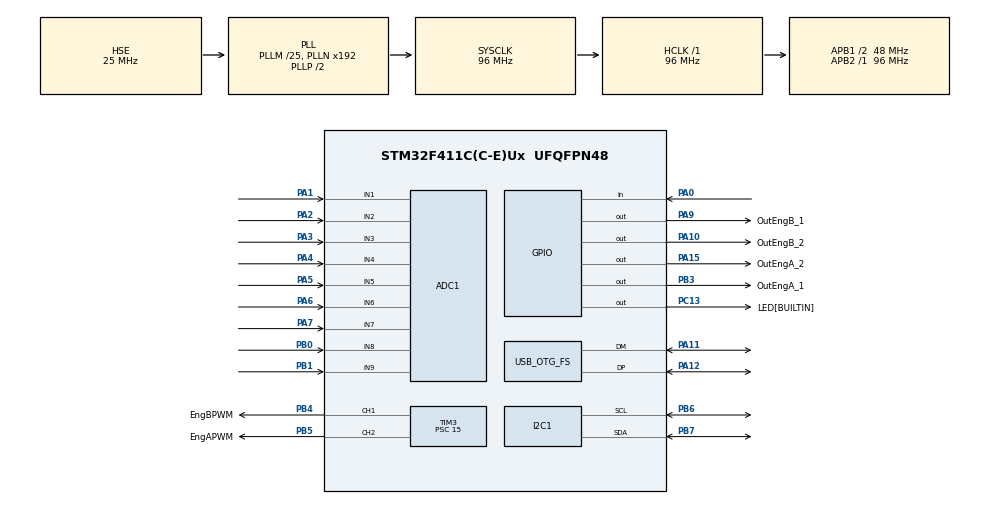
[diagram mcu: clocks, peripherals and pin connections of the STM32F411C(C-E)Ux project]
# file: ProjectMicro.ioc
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ADC1.Channel-0\#ChannelRegularConversion=ADC_CHANNEL_1
ADC1.Channel-1\#ChannelRegularConversion=ADC_CHANNEL_2
ADC1.Channel-2\#ChannelRegularConversion=ADC_CHANNEL_3
ADC1.Channel-3\#ChannelRegularConversion=ADC_CHANNEL_4
ADC1.Channel-4\#ChannelRegularConversion=ADC_CHANNEL_5
ADC1.Channel-5\#ChannelRegularConversion=ADC_CHANNEL_6
ADC1.Channel-6\#ChannelRegularConversion=ADC_CHANNEL_7
ADC1.Channel-7\#ChannelRegularConversion=ADC_CHANNEL_8
ADC1.Channel-8\#ChannelRegularConversion=ADC_CHANNEL_9
ADC1.NbrOfConversion=9
ADC1.NbrOfConversionFlag=1
ADC1.Rank-0\#ChannelRegularConversion=1
ADC1.Rank-1\#ChannelRegularConversion=2
ADC1.Rank-2\#ChannelRegularConversion=3
ADC1.Rank-3\#ChannelRegularConversion=4
ADC1.Rank-4\#ChannelRegularConversion=5
ADC1.Rank-5\#ChannelRegularConversion=6
ADC1.Rank-6\#ChannelRegularConversion=7
ADC1.Rank-7\#ChannelRegularConversion=8
ADC1.Rank-8\#ChannelRegularConversion=9
ADC1.SamplingTime-0\#ChannelRegularConversion=ADC_SAMPLETIME_56CYCLES
ADC1.SamplingTime-1\#ChannelRegularConversion=ADC_SAMPLETIME_56CYCLES
ADC1.SamplingTime-2\#ChannelRegularConversion=ADC_SAMPLETIME_56CYCLES
ADC1.SamplingTime-3\#ChannelRegularConversion=ADC_SAMPLETIME_56CYCLES
ADC1.SamplingTime-4\#ChannelRegularConversion=ADC_SAMPLETIME_56CYCLES
ADC1.SamplingTime-5\#ChannelRegularConversion=ADC_SAMPLETIME_56CYCLES
ADC1.SamplingTime-6\#ChannelRegularConversion=ADC_SAMPLETIME_56CYCLES
ADC1.SamplingTime-7\#ChannelRegularConversion=ADC_SAMPLETIME_56CYCLES
ADC1.SamplingTime-8\#ChannelRegularConversion=ADC_SAMPLETIME_3CYCLES
ADC1.master=1
Dma.ADC1.0.Direction=DMA_PERIPH_TO_MEMORY
Dma.ADC1.0.FIFOMode=DMA_FIFOMODE_DISABLE
Dma.ADC1.0.Instance=DMA2_Stream0
Dma.ADC1.0.MemDataAlignment=DMA_MDATAALIGN_HALFWORD
Dma.ADC1.0.MemInc=DMA_MINC_ENABLE
Dma.ADC1.0.Mode=DMA_NORMAL
Dma.ADC1.0.PeriphDataAlignment=DMA_PDATAALIGN_HALFWORD
Dma.ADC1.0.PeriphInc=DMA_PINC_DISABLE
Dma.ADC1.0.Priority=DMA_PRIORITY_LOW
Dma.I2C1_RX.1.Direction=DMA_PERIPH_TO_MEMORY
Dma.I2C1_RX.1.FIFOMode=DMA_FIFOMODE_DISABLE
Dma.I2C1_RX.1.Instance=DMA1_Stream0
Dma.I2C1_RX.1.MemDataAlignment=DMA_MDATAALIGN_BYTE
Dma.I2C1_RX.1.MemInc=DMA_MINC_ENABLE
Dma.I2C1_RX.1.Mode=DMA_NORMAL
Dma.I2C1_RX.1.PeriphDataAlignment=DMA_PDATAALIGN_BYTE
Dma.I2C1_RX.1.PeriphInc=DMA_PINC_DISABLE
Dma.I2C1_RX.1.Priority=DMA_PRIORITY_LOW
Dma.I2C1_TX.2.Direction=DMA_MEMORY_TO_PERIPH
Dma.I2C1_TX.2.FIFOMode=DMA_FIFOMODE_DISABLE
Dma.I2C1_TX.2.Instance=DMA1_Stream1
Dma.I2C1_TX.2.MemDataAlignment=DMA_MDATAALIGN_BYTE
Dma.I2C1_TX.2.MemInc=DMA_MINC_ENABLE
Dma.I2C1_TX.2.Mode=DMA_NORMAL
Dma.I2C1_TX.2.PeriphDataAlignment=DMA_PDATAALIGN_BYTE
Dma.I2C1_TX.2.PeriphInc=DMA_PINC_DISABLE
Dma.I2C1_TX.2.Priority=DMA_PRIORITY_LOW
Dma.Request0=ADC1
Dma.Request1=I2C1_RX
Dma.Request2=I2C1_TX
I2C1.I2C_Mode=I2C_Fast
Mcu.Family=STM32F4
Mcu.Name=STM32F411C(C-E)Ux
Mcu.Package=UFQFPN48
NVIC.ADC_IRQn=true\:0\:0\:false\:false\:true\:true\:true\:true
NVIC.DMA1_Stream0_IRQn=true\:0\:0\:false\:false\:true\:false\:true\:true
NVIC.DMA1_Stream1_IRQn=true\:0\:0\:false\:false\:true\:false\:true\:true
NVIC.DMA2_Stream0_IRQn=true\:0\:0\:false\:false\:true\:false\:true\:true
NVIC.OTG_FS_IRQn=true\:0\:0\:false\:false\:true\:false\:true\:true
NVIC.PriorityGroup=NVIC_PRIORITYGROUP_4
NVIC.TIM1_UP_TIM10_IRQn=true\:0\:0\:false\:false\:true\:true\:true\:true
NVIC.TIM3_IRQn=true\:0\:0\:false\:false\:true\:true\:true\:true
PA0-WKUP.Signal=GPIO_Input
PA1.Signal=ADCx_IN1
PA10.GPIO_Label=OutEngB_2
PA10.Signal=GPIO_Output
PA11.Mode=Device_Only
PA11.Signal=USB_OTG_FS_DM
PA12.Mode=Device_Only
PA12.Signal=USB_OTG_FS_DP
PA13.Mode=Serial_Wire
PA13.Signal=SYS_JTMS-SWDIO
PA14.Mode=Serial_Wire
PA14.Signal=SYS_JTCK-SWCLK
PA15.GPIO_Label=OutEngA_2
PA15.Signal=GPIO_Output
PA2.Signal=ADCx_IN2
PA3.Signal=ADCx_IN3
PA4.Signal=ADCx_IN4
PA5.Signal=ADCx_IN5
PA6.Signal=ADCx_IN6
PA7.Signal=ADCx_IN7
PA9.GPIO_Label=OutEngB_1
PA9.Signal=GPIO_Output
PB0.Signal=ADCx_IN8
PB1.Signal=ADCx_IN9
PB3.GPIO_Label=OutEngA_1
PB3.Signal=GPIO_Output
PB4.GPIO_Label=EngBPWM
PB4.Signal=S_TIM3_CH1
PB5.GPIO_Label=EngAPWM
PB5.Signal=S_TIM3_CH2
PB6.Mode=I2C
PB6.Signal=I2C1_SCL
PB7.Mode=I2C
PB7.Signal=I2C1_SDA
PC13-ANTI_TAMP.GPIO_Label=LED[BUILTIN]
PC13-ANTI_TAMP.Signal=GPIO_Output
PC14-OSC32_IN.Mode=LSE-External-Oscillator
PC14-OSC32_IN.Signal=RCC_OSC32_IN
PC15-OSC32_OUT.Mode=LSE-External-Oscillator
PC15-OSC32_OUT.Signal=RCC_OSC32_OUT
PH0\ -\ OSC_IN.Mode=HSE-External-Oscillator
PH0\ -\ OSC_IN.Signal=RCC_OSC_IN
PH1\ -\ OSC_OUT.Mode=HSE-External-Oscillator
PH1\ -\ OSC_OUT.Signal=RCC_OSC_OUT
ProjectManager.HeapSize=0x200
ProjectManager.StackSize=0x400
ProjectManager.TargetToolchain=STM32CubeIDE
RCC.48MHZClocksFreq_Value=48000000
RCC.AHBFreq_Value=96000000
RCC.APB1CLKDivider=RCC_HCLK_DIV2
RCC.APB1Freq_Value=48000000
RCC.APB1TimFreq_Value=96000000
RCC.APB2Freq_Value=96000000
RCC.APB2TimFreq_Value=96000000
RCC.CortexFreq_Value=96000000
RCC.HCLKFreq_Value=96000000
RCC.HSE_VALUE=25000000
RCC.HSI_VALUE=16000000
RCC.PLLM=25
RCC.SYSCLKFreq_VALUE=96000000
RCC.SYSCLKSource=RCC_SYSCLKSOURCE_PLLCLK
RCC.VCOOutputFreq_Value=192000000
SH.ADCx_IN1.0=ADC1_IN1,IN1
SH.ADCx_IN2.0=ADC1_IN2,IN2
SH.ADCx_IN3.0=ADC1_IN3,IN3
SH.ADCx_IN4.0=ADC1_IN4,IN4
SH.ADCx_IN5.0=ADC1_IN5,IN5
SH.ADCx_IN6.0=ADC1_IN6,IN6
SH.ADCx_IN7.0=ADC1_IN7,IN7
SH.ADCx_IN8.0=ADC1_IN8,IN8
SH.ADCx_IN9.0=ADC1_IN9,IN9
SH.S_TIM3_CH1.0=TIM3_CH1,PWM Generation1 CH1
SH.S_TIM3_CH2.0=TIM3_CH2,PWM Generation2 CH2
TIM1.Period=23999
TIM3.Channel-PWM\ Generation1\ CH1=TIM_CHANNEL_1
TIM3.Channel-PWM\ Generation2\ CH2=TIM_CHANNEL_2
TIM3.OCPolarity_1=TIM_OCPOLARITY_HIGH
TIM3.OCPolarity_2=TIM_OCPOLARITY_HIGH
TIM3.Period=59999
TIM3.Prescaler=15
USB_DEVICE.APP_RX_DATA_SIZE=512
USB_DEVICE.APP_TX_DATA_SIZE=512
USB_DEVICE.CLASS_NAME_FS=CDC
USB_DEVICE.VirtualMode=Cdc
USB_DEVICE.VirtualModeFS=Cdc_FS
USB_OTG_FS.VirtualMode=Device_Only
VP_TIM1_VS_ClockSourceINT.Mode=Internal
VP_TIM3_VS_ClockSourceINT.Mode=Internal
VP_USB_DEVICE_VS_USB_DEVICE_CDC_FS.Mode=CDC_FS
board=custom

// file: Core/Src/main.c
/* USER CODE BEGIN Header */
/**
  ******************************************************************************
  * @file           : main.c
  * @brief          : Main program body
  ******************************************************************************
  * @attention
  *
  * Copyright (c) 2025 STMicroelectronics.
  * All rights reserved.
  *
  * This software is licensed under terms that can be found in the LICENSE file
  * in the root directory of this software component.
  * If no LICENSE file comes with this software, it is provided AS-IS.
  *
  ******************************************************************************
  */
/* USER CODE END Header */
#include "main.h"
#include "usb_device.h"

/* USER CODE BEGIN Includes */
#include "usbd_cdc_if.h"
#include "UNERprotocol.h"
#include "Utilities.h"
#include "ADC.h"
#include "Engines.h"
#include "MPU6050.h"
#include "Fonts.h"
#include "ssd1306_oled.h"
/* USER CODE END Includes */

/* USER CODE BEGIN PD */
#define NUM_CHANNELS_ADC 9
#define RINGBUFFER_Tx 	256
#define RINGBUFFER_Rx 	256

#define IS250US 		myFlags.individualFlags.bit1
#define ADCready		myFlags.individualFlags.bit2
/* USER CODE END PD */

ADC_HandleTypeDef hadc1;
DMA_HandleTypeDef hdma_adc1;

I2C_HandleTypeDef hi2c1;
DMA_HandleTypeDef hdma_i2c1_rx;
DMA_HandleTypeDef hdma_i2c1_tx;

TIM_HandleTypeDef htim1;
TIM_HandleTypeDef htim3;

/* USER CODE BEGIN PV */
_bFlags myFlags;
_work w;
_sDato datosComSerie;
_sIrSensor sensorIR;
_sEng motorL,motorR;
_eEngState estado; /*!< Creo que lo puedo borrar*/
_sMPUxyz DatosMPU;

uint16_t adcBuffer[NUM_CHANNELS_ADC];
uint8_t commBufferRx[RINGBUFFER_Tx];
uint8_t commBufferTx[RINGBUFFER_Rx];
//uint8_t asd = 1;
/* USER CODE END PV */

void SystemClock_Config(void);
static void MX_GPIO_Init(void);
static void MX_DMA_Init(void);
static void MX_TIM1_Init(void);
static void MX_ADC1_Init(void);
static void MX_TIM3_Init(void);
static void MX_I2C1_Init(void);
/* USER CODE BEGIN PFP */

void HAL_ADC_ConvCpltCallback(ADC_HandleTypeDef* hadc);
void HAL_TIM_PeriodElapsedCallback(TIM_HandleTypeDef *htim);
void HAL_I2C_MemRxCpltCallback(I2C_HandleTypeDef *hi2c);

/*		MOTORES		*/
void MotorL_SetPWM(uint16_t dCycle);
void MotorR_SetPWM(uint16_t dCycle);
void MotorL_SetPIN(_eEngState estado);
void MotorR_SetPIN(_eEngState estado);

/*		  MPU		*/
void MPU6050_Init(I2C_HandleTypeDef *hi2c);

/* 		  I2C		*/
//uint8_t I2C_DMA_Transmit(uint16_t Dev_Address,uint16_t reg,uint8_t *p_Data, uint16_t _Size);
//uint8_t I2C_1_Abstract_Master_Transmit_Blocking(uint16_t Dev_Address, uint8_t *p_Data, uint16_t _Size, uint32_t _Timeout);

/* USER CODE END PFP */

/* USER CODE BEGIN 0 */
void HAL_TIM_PeriodElapsedCallback(TIM_HandleTypeDef *htim){
	if(htim -> Instance == TIM1){
		IS250US = TRUE;
	}
	HAL_ADC_Start_DMA(&hadc1, (uint32_t*)&sensorIR.bufferADCvalue, 9);
}

void HAL_ADC_ConvCpltCallback(ADC_HandleTypeDef* hadc){
	//lamar a la funcion para hacer el filtrado de datos
}

void HAL_I2C_MemRxCpltCallback(I2C_HandleTypeDef *hi2c){

	DatosMPU.x.accel = (DatosMPU.bufData[0] << 8) | DatosMPU.bufData[1];
	DatosMPU.y.accel = (DatosMPU.bufData[2] << 8) | DatosMPU.bufData[3];
	DatosMPU.z.accel = (DatosMPU.bufData[4] << 8) | DatosMPU.bufData[5];

//	DatosMPU.temperature = (bufData[6] << 8) | bufData[7];

	DatosMPU.x.gyro = (DatosMPU.bufData[8] << 8) | DatosMPU.bufData[9];
	DatosMPU.y.gyro = (DatosMPU.bufData[10] << 8) | DatosMPU.bufData[11];
	DatosMPU.z.gyro = (DatosMPU.bufData[12] << 8) | DatosMPU.bufData[13];
}

/* USER CODE END 0 */

int main(void)
{
  /* USER CODE BEGIN 1 */
	uint8_t time250us = 0, time10ms = 0;
  /* USER CODE END 1 */

  /* MCU Configuration--------------------------------------------------------*/

  /* Reset of all peripherals, Initializes the Flash interface and the Systick. */
  HAL_Init();

  /* USER CODE BEGIN Init */
  CDC_Attach_Rx(&CommDatafromUSB);
  CommInitProtocol(&datosComSerie, &CommDecodeData, commBufferRx, commBufferTx);
  /* USER CODE END Init */

  /* Configure the system clock */
  SystemClock_Config();

  /* Initialize all configured peripherals */
  MX_GPIO_Init();
  MX_DMA_Init();
  MX_TIM1_Init();
  MX_USB_DEVICE_Init();
  MX_ADC1_Init();
  MX_TIM3_Init();
  MX_I2C1_Init();
  /* USER CODE BEGIN 2 */
  HAL_TIM_Base_Start_IT(&htim1);
  HAL_TIM_Base_Start_IT(&htim3);
  HAL_TIM_PWM_Start(&htim3, TIM_CHANNEL_2);
  HAL_TIM_PWM_Start(&htim3, TIM_CHANNEL_1);

  en_InitENG(&motorL, &MotorL_SetPWM, &MotorL_SetPIN, htim3.Instance->ARR); /*!< asigno a cada motor una direccio de memoria para manejarlo desde la lib */
  en_InitENG(&motorR, &MotorR_SetPWM, &MotorR_SetPIN, htim3.Instance->ARR); /*!< En donde, (htim3.Instance->ARR) es el valor maximo de PWM */

  MPU6050_Init(&hi2c1);

  SSD1306_Init(); 		/*! Inicializamos el OLED */
  HAL_Delay(100);
  SSD1306_Fill(BLACK);	/*! Limpiamos pantalla (rellenamos de negro) */
  SSD1306_GotoXY(0, 0); /*! Posicionamos cursor (esquina superior izquierda) */
  SSD1306_Puts("tkm Lu", &Font_7x10, WHITE); /*!  Escribimos un texto 	*/
  SSD1306_UpdateScreen(); /*! Enviamos el buffer a la pantalla */

//  Display_Set_I2C_Master_Transmit(&I2C_DMA_Transmit, &I2C_1_Abstract_Master_Transmit_Blocking);
//  SSD1306_Init();

  IS250US = FALSE;
  ADCready = TRUE;
  datosComSerie.Rx.indexRead = 0;
  datosComSerie.Rx.indexWrite =0;
  myFlags.allFlags = 0;

  /* USER CODE END 2 */

  /* Infinite loop */
  while (1)
  {

    /* USER CODE BEGIN 3 */

	  CommComunicationsTask(&datosComSerie);

	  if(IS250US){
		  time250us++;
		  IS250US =! IS250US;
		  if(time250us >= 40){
			  time10ms++;
			  time250us = 0;
			  if(time10ms == 10){
				  HAL_I2C_Mem_Read_DMA(&hi2c1, MPU6050_ADDR, ACCEL_XOUT_REG, MemAddSize, (uint8_t*)&DatosMPU.bufData, 14);
				  HAL_GPIO_TogglePin(LED_GPIO_Port, LED_Pin);
				  time10ms = 0;
			  }
		  }
	  }

  }
  /* USER CODE END 3 */
}

void SystemClock_Config(void)
{
  RCC_OscInitTypeDef RCC_OscInitStruct = {0};
  RCC_ClkInitTypeDef RCC_ClkInitStruct = {0};

  /** Configure the main internal regulator output voltage
  */
  __HAL_RCC_PWR_CLK_ENABLE();
  __HAL_PWR_VOLTAGESCALING_CONFIG(PWR_REGULATOR_VOLTAGE_SCALE1);

  /** Initializes the RCC Oscillators according to the specified parameters
  * in the RCC_OscInitTypeDef structure.
  */
  RCC_OscInitStruct.OscillatorType = RCC_OSCILLATORTYPE_HSE;
  RCC_OscInitStruct.HSEState = RCC_HSE_ON;
  RCC_OscInitStruct.PLL.PLLState = RCC_PLL_ON;
  RCC_OscInitStruct.PLL.PLLSource = RCC_PLLSOURCE_HSE;
  RCC_OscInitStruct.PLL.PLLM = 25;
  RCC_OscInitStruct.PLL.PLLN = 192;
  RCC_OscInitStruct.PLL.PLLP = RCC_PLLP_DIV2;
  RCC_OscInitStruct.PLL.PLLQ = 4;
  if (HAL_RCC_OscConfig(&RCC_OscInitStruct) != HAL_OK)
  {
    Error_Handler();
  }

  /** Initializes the CPU, AHB and APB buses clocks
  */
  RCC_ClkInitStruct.ClockType = RCC_CLOCKTYPE_HCLK|RCC_CLOCKTYPE_SYSCLK
                              |RCC_CLOCKTYPE_PCLK1|RCC_CLOCKTYPE_PCLK2;
  RCC_ClkInitStruct.SYSCLKSource = RCC_SYSCLKSOURCE_PLLCLK;
  RCC_ClkInitStruct.AHBCLKDivider = RCC_SYSCLK_DIV1;
  RCC_ClkInitStruct.APB1CLKDivider = RCC_HCLK_DIV2;
  RCC_ClkInitStruct.APB2CLKDivider = RCC_HCLK_DIV1;

  if (HAL_RCC_ClockConfig(&RCC_ClkInitStruct, FLASH_LATENCY_3) != HAL_OK)
  {
    Error_Handler();
  }
}

static void MX_ADC1_Init(void)
{

  ADC_ChannelConfTypeDef sConfig = {0};

  /** Configure the global features of the ADC (Clock, Resolution, Data Alignment and number of conversion)
  */
  hadc1.Instance = ADC1;
  hadc1.Init.ClockPrescaler = ADC_CLOCK_SYNC_PCLK_DIV4;
  hadc1.Init.Resolution = ADC_RESOLUTION_12B;
  hadc1.Init.ScanConvMode = ENABLE;
  hadc1.Init.ContinuousConvMode = DISABLE;
  hadc1.Init.DiscontinuousConvMode = DISABLE;
  hadc1.Init.ExternalTrigConvEdge = ADC_EXTERNALTRIGCONVEDGE_NONE;
  hadc1.Init.ExternalTrigConv = ADC_SOFTWARE_START;
  hadc1.Init.DataAlign = ADC_DATAALIGN_RIGHT;
  hadc1.Init.NbrOfConversion = 9;
  hadc1.Init.DMAContinuousRequests = DISABLE;
  hadc1.Init.EOCSelection = ADC_EOC_SINGLE_CONV;
  if (HAL_ADC_Init(&hadc1) != HAL_OK)
  {
    Error_Handler();
  }

  /** Configure for the selected ADC regular channel its corresponding rank in the sequencer and its sample time.
  */
  sConfig.Channel = ADC_CHANNEL_1;
  sConfig.Rank = 1;
  sConfig.SamplingTime = ADC_SAMPLETIME_56CYCLES;
  if (HAL_ADC_ConfigChannel(&hadc1, &sConfig) != HAL_OK)
  {
    Error_Handler();
  }

  /** Configure for the selected ADC regular channel its corresponding rank in the sequencer and its sample time.
  */
  sConfig.Channel = ADC_CHANNEL_2;
  sConfig.Rank = 2;
  if (HAL_ADC_ConfigChannel(&hadc1, &sConfig) != HAL_OK)
  {
    Error_Handler();
  }

  /** Configure for the selected ADC regular channel its corresponding rank in the sequencer and its sample time.
  */
  sConfig.Channel = ADC_CHANNEL_3;
  sConfig.Rank = 3;
  if (HAL_ADC_ConfigChannel(&hadc1, &sConfig) != HAL_OK)
  {
    Error_Handler();
  }

  /** Configure for the selected ADC regular channel its corresponding rank in the sequencer and its sample time.
  */
  sConfig.Channel = ADC_CHANNEL_4;
  sConfig.Rank = 4;
  if (HAL_ADC_ConfigChannel(&hadc1, &sConfig) != HAL_OK)
  {
    Error_Handler();
  }

  /** Configure for the selected ADC regular channel its corresponding rank in the sequencer and its sample time.
  */
  sConfig.Channel = ADC_CHANNEL_5;
  sConfig.Rank = 5;
  if (HAL_ADC_ConfigChannel(&hadc1, &sConfig) != HAL_OK)
  {
    Error_Handler();
  }

  /** Configure for the selected ADC regular channel its corresponding rank in the sequencer and its sample time.
  */
  sConfig.Channel = ADC_CHANNEL_6;
  sConfig.Rank = 6;
  if (HAL_ADC_ConfigChannel(&hadc1, &sConfig) != HAL_OK)
  {
    Error_Handler();
  }

  /** Configure for the selected ADC regular channel its corresponding rank in the sequencer and its sample time.
  */
  sConfig.Channel = ADC_CHANNEL_7;
  sConfig.Rank = 7;
  if (HAL_ADC_ConfigChannel(&hadc1, &sConfig) != HAL_OK)
  {
    Error_Handler();
  }

  /** Configure for the selected ADC regular channel its corresponding rank in the sequencer and its sample time.
  */
  sConfig.Channel = ADC_CHANNEL_8;
  sConfig.Rank = 8;
  if (HAL_ADC_ConfigChannel(&hadc1, &sConfig) != HAL_OK)
  {
    Error_Handler();
  }

  /** Configure for the selected ADC regular channel its corresponding rank in the sequencer and its sample time.
  */
  sConfig.Channel = ADC_CHANNEL_9;
  sConfig.Rank = 9;
  sConfig.SamplingTime = ADC_SAMPLETIME_3CYCLES;
  if (HAL_ADC_ConfigChannel(&hadc1, &sConfig) != HAL_OK)
  {
    Error_Handler();
  }

}

static void MX_I2C1_Init(void)
{

  hi2c1.Instance = I2C1;
  hi2c1.Init.ClockSpeed = 400000;
  hi2c1.Init.DutyCycle = I2C_DUTYCYCLE_2;
  hi2c1.Init.OwnAddress1 = 0;
  hi2c1.Init.AddressingMode = I2C_ADDRESSINGMODE_7BIT;
  hi2c1.Init.DualAddressMode = I2C_DUALADDRESS_DISABLE;
  hi2c1.Init.OwnAddress2 = 0;
  hi2c1.Init.GeneralCallMode = I2C_GENERALCALL_DISABLE;
  hi2c1.Init.NoStretchMode = I2C_NOSTRETCH_DISABLE;
  if (HAL_I2C_Init(&hi2c1) != HAL_OK)
  {
    Error_Handler();
  }

}

static void MX_TIM1_Init(void)
{

  TIM_ClockConfigTypeDef sClockSourceConfig = {0};
  TIM_MasterConfigTypeDef sMasterConfig = {0};

  htim1.Instance = TIM1;
  htim1.Init.Prescaler = 0;
  htim1.Init.CounterMode = TIM_COUNTERMODE_UP;
  htim1.Init.Period = 23999;
  htim1.Init.ClockDivision = TIM_CLOCKDIVISION_DIV1;
  htim1.Init.RepetitionCounter = 0;
  htim1.Init.AutoReloadPreload = TIM_AUTORELOAD_PRELOAD_DISABLE;
  if (HAL_TIM_Base_Init(&htim1) != HAL_OK)
  {
    Error_Handler();
  }
  sClockSourceConfig.ClockSource = TIM_CLOCKSOURCE_INTERNAL;
  if (HAL_TIM_ConfigClockSource(&htim1, &sClockSourceConfig) != HAL_OK)
  {
    Error_Handler();
  }
  sMasterConfig.MasterOutputTrigger = TIM_TRGO_RESET;
  sMasterConfig.MasterSlaveMode = TIM_MASTERSLAVEMODE_DISABLE;
  if (HAL_TIMEx_MasterConfigSynchronization(&htim1, &sMasterConfig) != HAL_OK)
  {
    Error_Handler();
  }

}

static void MX_TIM3_Init(void)
{

  TIM_ClockConfigTypeDef sClockSourceConfig = {0};
  TIM_MasterConfigTypeDef sMasterConfig = {0};
  TIM_OC_InitTypeDef sConfigOC = {0};

  htim3.Instance = TIM3;
  htim3.Init.Prescaler = 15;
  htim3.Init.CounterMode = TIM_COUNTERMODE_UP;
  htim3.Init.Period = 59999;
  htim3.Init.ClockDivision = TIM_CLOCKDIVISION_DIV1;
  htim3.Init.AutoReloadPreload = TIM_AUTORELOAD_PRELOAD_DISABLE;
  if (HAL_TIM_Base_Init(&htim3) != HAL_OK)
  {
    Error_Handler();
  }
  sClockSourceConfig.ClockSource = TIM_CLOCKSOURCE_INTERNAL;
  if (HAL_TIM_ConfigClockSource(&htim3, &sClockSourceConfig) != HAL_OK)
  {
    Error_Handler();
  }
  if (HAL_TIM_PWM_Init(&htim3) != HAL_OK)
  {
    Error_Handler();
  }
  sMasterConfig.MasterOutputTrigger = TIM_TRGO_RESET;
  sMasterConfig.MasterSlaveMode = TIM_MASTERSLAVEMODE_DISABLE;
  if (HAL_TIMEx_MasterConfigSynchronization(&htim3, &sMasterConfig) != HAL_OK)
  {
    Error_Handler();
  }
  sConfigOC.OCMode = TIM_OCMODE_PWM1;
  sConfigOC.Pulse = 0;
  sConfigOC.OCPolarity = TIM_OCPOLARITY_HIGH;
  sConfigOC.OCFastMode = TIM_OCFAST_DISABLE;
  if (HAL_TIM_PWM_ConfigChannel(&htim3, &sConfigOC, TIM_CHANNEL_1) != HAL_OK)
  {
    Error_Handler();
  }
  if (HAL_TIM_PWM_ConfigChannel(&htim3, &sConfigOC, TIM_CHANNEL_2) != HAL_OK)
  {
    Error_Handler();
  }
  HAL_TIM_MspPostInit(&htim3);

}

static void MX_DMA_Init(void)
{

  /* DMA controller clock enable */
  __HAL_RCC_DMA2_CLK_ENABLE();
  __HAL_RCC_DMA1_CLK_ENABLE();

  /* DMA interrupt init */
  /* DMA1_Stream0_IRQn interrupt configuration */
  HAL_NVIC_SetPriority(DMA1_Stream0_IRQn, 0, 0);
  HAL_NVIC_EnableIRQ(DMA1_Stream0_IRQn);
  /* DMA1_Stream1_IRQn interrupt configuration */
  HAL_NVIC_SetPriority(DMA1_Stream1_IRQn, 0, 0);
  HAL_NVIC_EnableIRQ(DMA1_Stream1_IRQn);
  /* DMA2_Stream0_IRQn interrupt configuration */
  HAL_NVIC_SetPriority(DMA2_Stream0_IRQn, 0, 0);
  HAL_NVIC_EnableIRQ(DMA2_Stream0_IRQn);

}

static void MX_GPIO_Init(void)
{
  GPIO_InitTypeDef GPIO_InitStruct = {0};

  /* GPIO Ports Clock Enable */
  __HAL_RCC_GPIOC_CLK_ENABLE();
  __HAL_RCC_GPIOH_CLK_ENABLE();
  __HAL_RCC_GPIOA_CLK_ENABLE();
  __HAL_RCC_GPIOB_CLK_ENABLE();

  /*Configure GPIO pin Output Level */
  HAL_GPIO_WritePin(LED_GPIO_Port, LED_Pin, GPIO_PIN_RESET);

  /*Configure GPIO pin Output Level */
  HAL_GPIO_WritePin(GPIOA, OutEngB_1_Pin|OutEngB_2_Pin|OutEngA_2_Pin, GPIO_PIN_RESET);

  /*Configure GPIO pin Output Level */
  HAL_GPIO_WritePin(OutEngA_1_GPIO_Port, OutEngA_1_Pin, GPIO_PIN_RESET);

  /*Configure GPIO pin : LED_Pin */
  GPIO_InitStruct.Pin = LED_Pin;
  GPIO_InitStruct.Mode = GPIO_MODE_OUTPUT_PP;
  GPIO_InitStruct.Pull = GPIO_NOPULL;
  GPIO_InitStruct.Speed = GPIO_SPEED_FREQ_LOW;
  HAL_GPIO_Init(LED_GPIO_Port, &GPIO_InitStruct);

  /*Configure GPIO pin : PA0 */
  GPIO_InitStruct.Pin = GPIO_PIN_0;
  GPIO_InitStruct.Mode = GPIO_MODE_INPUT;
  GPIO_InitStruct.Pull = GPIO_NOPULL;
  HAL_GPIO_Init(GPIOA, &GPIO_InitStruct);

  /*Configure GPIO pins : OutEngB_1_Pin OutEngB_2_Pin OutEngA_2_Pin */
  GPIO_InitStruct.Pin = OutEngB_1_Pin|OutEngB_2_Pin|OutEngA_2_Pin;
  GPIO_InitStruct.Mode = GPIO_MODE_OUTPUT_PP;
  GPIO_InitStruct.Pull = GPIO_NOPULL;
  GPIO_InitStruct.Speed = GPIO_SPEED_FREQ_LOW;
  HAL_GPIO_Init(GPIOA, &GPIO_InitStruct);

  /*Configure GPIO pin : OutEngA_1_Pin */
  GPIO_InitStruct.Pin = OutEngA_1_Pin;
  GPIO_InitStruct.Mode = GPIO_MODE_OUTPUT_PP;
  GPIO_InitStruct.Pull = GPIO_NOPULL;
  GPIO_InitStruct.Speed = GPIO_SPEED_FREQ_LOW;
  HAL_GPIO_Init(OutEngA_1_GPIO_Port, &GPIO_InitStruct);

}

/* USER CODE BEGIN 4 */

/**
 * @brief: 	recibo la informacion enviada por puerto USB (lo enviado por QT), y guardo los bytes recibidos
 *  		en el buffer circular Rx.buffercomm[] de la estructura datosComSerie. Es decir:
 * 			UNER = 55 4E 45 52 // Nbytes= 02 // ':' = 3A // Alive= F0 // 0xC4 = checksum
 *
 * @param: *buf, el buffer que posee la informacion para recibirla en el buffer de recepcion
 * @param: length, largo del buffer
 */
void CommDatafromUSB(uint8_t *buf, uint16_t length){

  uint16_t i;

  for (i = 0; i < length; i++) {
	  datosComSerie.Rx.buffercomm[datosComSerie.Rx.indexWrite] = buf[i];
	  datosComSerie.Rx.indexWrite++;
  }

}

/**
 * @brief: si llegó informacion (CommDatafromUSB) entonces llamo a decodeheader para el analisis del protocolo "UNER"
 *
 */
void CommComunicationsTask(_sDato *datosCom){
	if(datosCom->Rx.indexRead!=datosCom->Rx.indexWrite ){ /*!< si Recepcion write =! Recepcion read => buffer lleno */
		CommDecodeHeader(datosCom);
		datosCom->Rx.indexRead=datosCom->Rx.indexWrite;
	}

	if(datosCom->Tx.indexRead!=datosCom->Tx.indexWrite ){
		if(datosCom->Tx.indexWrite > datosCom->Tx.indexRead){
				datosCom->bytesTosend = datosCom->Tx.indexWrite - datosCom->Tx.indexRead;
		}else{
			datosCom->bytesTosend =  sizeof(datosCom->Rx.buffercomm) - datosCom->Tx.indexRead;
		}
		if(CDC_Transmit_FS(&datosCom->Tx.buffercomm[datosCom->Tx.indexRead], datosCom->bytesTosend) == USBD_OK){ /*!< Paquete enviado hacia QT: 55 4E 45 52   01 	 3A     F0         0D          C8
							 																												    'U''N''E''R''Nbytes'':''ID:Alive''Payload: ACK''Cheksum'*/
			datosCom->Tx.indexRead += datosCom->bytesTosend;
		}
	}
}

/**
 * @brief Si el protocolo fue aceptado (CommDecodeHeader), entonces preparo la respuesta segun el ID recibido.
 *
 */
void CommDecodeData(_sDato *datosComLib){
    uint8_t bufAux[30], indiceAux=0,bytes=0;
    uint32_t velL = 0, velR = 0;

    switch (datosComLib->Rx.buffercomm[datosComLib->indexStart+2])/*!< ID EN LA POSICION 2, porque es donde se adjunta el byte que te dice "ALIVE, FIRMWARE, ETC" */
    {

	case ALIVE:
		bufAux[indiceAux++] = ALIVE;   	/*!< ID de respuesta */
		bufAux[indiceAux++] = 0x0D;    	/*!< Respuesta: ACK */
		bytes = 0x03;        			/*!< NBYTES = 3 (ID + Dato + Checksum) */
	break;

    case FIRMWARE:
		bufAux[indiceAux++]=FIRMWARE;
		bytes=0x02;
    break;

    case IR:
        bufAux[indiceAux++] = IR;
        w.u16[0] = adcBuffer[0];
        bufAux[indiceAux++] = w.u8[0];  // LSB
        bufAux[indiceAux++] = w.u8[1];  // MSB

        w.u16[0] = adcBuffer[1];
        bufAux[indiceAux++] = w.u8[0];  // LSB
        bufAux[indiceAux++] = w.u8[1];  // MSB

        w.u16[0] = adcBuffer[2];
        bufAux[indiceAux++] = w.u8[0];  // LSB
        bufAux[indiceAux++] = w.u8[1];  // MSB

        w.u16[0] = adcBuffer[3];
        bufAux[indiceAux++] = w.u8[0];  // LSB
        bufAux[indiceAux++] = w.u8[1];  // MSB

        w.u16[0] = adcBuffer[4];
        bufAux[indiceAux++] = w.u8[0];  // LSB
        bufAux[indiceAux++] = w.u8[1];  // MSB

        w.u16[0] = adcBuffer[5];
        bufAux[indiceAux++] = w.u8[0];  // LSB
        bufAux[indiceAux++] = w.u8[1];  // MSB

        w.u16[0] = adcBuffer[6];
        bufAux[indiceAux++] = w.u8[0];  // LSB
        bufAux[indiceAux++] = w.u8[1];  // MSB

        w.u16[0] = adcBuffer[7];
        bufAux[indiceAux++] = w.u8[0];  // LSB
        bufAux[indiceAux++] = w.u8[1];  // MSB

        bytes = 18; // 1 byte para ID, 2 bytes por canal + Cks

	break;

    case MOTOR:

        w.u8[0] = datosComLib->Rx.buffercomm[datosComLib->indexStart+3];
        w.u8[1] = datosComLib->Rx.buffercomm[datosComLib->indexStart+4];
        w.u8[2] = datosComLib->Rx.buffercomm[datosComLib->indexStart+5];
        w.u8[3] = datosComLib->Rx.buffercomm[datosComLib->indexStart+6];
        velL = w.i32;

        w.u8[0] = datosComLib->Rx.buffercomm[datosComLib->indexStart+7];
        w.u8[1] = datosComLib->Rx.buffercomm[datosComLib->indexStart+8];
        w.u8[2] = datosComLib->Rx.buffercomm[datosComLib->indexStart+9];
        w.u8[3] = datosComLib->Rx.buffercomm[datosComLib->indexStart+10];
        velR = w.i32;

        en_HandlerENG(&motorL, velL, 0);
        en_HandlerENG(&motorR, velR, 0);

//        bufAux[indiceAux++] = MOTOR;
//
//        w.i32 = velL;
//        bufAux[indiceAux++] = w.u8[0];
//        bufAux[indiceAux++] = w.u8[1];
//        bufAux[indiceAux++] = w.u8[2];
//        bufAux[indiceAux++] = w.u8[3];
//
//        w.i32 = velR;
//        bufAux[indiceAux++] = w.u8[0];
//        bufAux[indiceAux++] = w.u8[1];
//        bufAux[indiceAux++] = w.u8[2];
//        bufAux[indiceAux++] = w.u8[3];
//
//        bytes = 2 + 8; // ID + cks + velL + velR

	break;

    case MPUData:
    	bufAux[indiceAux++] = MPUData;
    	// Aceleracion
    	w.i16[0] = DatosMPU.x.accel;
    	bufAux[indiceAux++] = w.u8[0];
    	bufAux[indiceAux++] = w.u8[1];

    	w.i16[0] = DatosMPU.y.accel;
    	bufAux[indiceAux++] = w.u8[0];
    	bufAux[indiceAux++] = w.u8[1];

    	w.i16[0] = DatosMPU.z.accel;
    	bufAux[indiceAux++] = w.u8[0];
    	bufAux[indiceAux++] = w.u8[1];

    	// Giroscopio
    	w.i16[0] = DatosMPU.x.gyro;
    	bufAux[indiceAux++] = w.u8[0];
    	bufAux[indiceAux++] = w.u8[1];

    	w.i16[0] = DatosMPU.y.gyro;
    	bufAux[indiceAux++] = w.u8[0];
    	bufAux[indiceAux++] = w.u8[1];

    	w.i16[0] = DatosMPU.z.gyro;
    	bufAux[indiceAux++] = w.u8[0];
    	bufAux[indiceAux++] = w.u8[1];

    	bytes = 14;

    break;

    default:
        bufAux[indiceAux++]=0xFF;
        bytes=0x02;
    break;
    }

    CommSendInfo(datosComLib,bufAux,bytes);
}

/**
 * @brief Seteo los pines segun el estado de los motores (Adelante, atras, freno, libre)
 */
void MotorL_SetPIN(_eEngState estado){
	switch(motorL.estado){
		case BRAKE:
			HAL_GPIO_WritePin(OutEngA_1_GPIO_Port, OutEngA_1_Pin, 1);
			HAL_GPIO_WritePin(OutEngA_2_GPIO_Port, OutEngA_2_Pin, 1);
			break;

		case FRONT:
			HAL_GPIO_WritePin(OutEngA_1_GPIO_Port, OutEngA_1_Pin, 1);
			HAL_GPIO_WritePin(OutEngA_2_GPIO_Port, OutEngA_2_Pin, 0);
			break;

		case BACK:
			HAL_GPIO_WritePin(OutEngA_1_GPIO_Port, OutEngA_1_Pin, 0);
			HAL_GPIO_WritePin(OutEngA_2_GPIO_Port, OutEngA_2_Pin, 1);
			break;

		case FREE:
			HAL_GPIO_WritePin(OutEngA_1_GPIO_Port, OutEngA_1_Pin, 0);
			HAL_GPIO_WritePin(OutEngA_2_GPIO_Port, OutEngA_2_Pin, 0);
			break;
		default:
			break;
	}
}
void MotorR_SetPIN(_eEngState estado){
	switch(motorR.estado){
		case BRAKE:
			HAL_GPIO_WritePin(OutEngB_1_GPIO_Port, OutEngB_1_Pin, 1);
			HAL_GPIO_WritePin(OutEngB_2_GPIO_Port, OutEngB_2_Pin, 1);
			break;

		case FRONT:
			HAL_GPIO_WritePin(OutEngB_1_GPIO_Port, OutEngB_1_Pin, 1);
			HAL_GPIO_WritePin(OutEngB_2_GPIO_Port, OutEngB_2_Pin, 0);
			break;

		case BACK:
			HAL_GPIO_WritePin(OutEngB_1_GPIO_Port, OutEngB_1_Pin, 0);
			HAL_GPIO_WritePin(OutEngB_2_GPIO_Port, OutEngB_2_Pin, 1);
			break;

		case FREE:
			HAL_GPIO_WritePin(OutEngB_1_GPIO_Port, OutEngB_1_Pin, 0);
			HAL_GPIO_WritePin(OutEngB_2_GPIO_Port, OutEngB_2_Pin, 0);
			break;
		default:
			break;
	}
}

/**
 * @Brief Le doy la velocidad a los motores
 */
void MotorL_SetPWM(uint16_t dCycle){
	__HAL_TIM_SET_COMPARE(&htim3, TIM_CHANNEL_2, dCycle);
}
void MotorR_SetPWM(uint16_t dCycle){
	__HAL_TIM_SET_COMPARE(&htim3, TIM_CHANNEL_1, dCycle);
}

/**
 * @brief Inicializo el MPU. Lo despierto y configuro el giroscopio y el acelerómetro mediante el tercer parametro (MemAddress).
 */
void MPU6050_Init(I2C_HandleTypeDef *hi2c){
    uint8_t data = 0;

    HAL_I2C_Mem_Read(hi2c, MPU6050_ADDR, WHO_AM_I, MemAddSize, &data, 1, timeout_duration);
    if (data == WHO_AM_I_DEFAULT_VALUE){
        // Wake up MPU6050
        data = 0;
        HAL_I2C_Mem_Write(hi2c, MPU6050_ADDR, POWER_MANAGEMENT_REG, MemAddSize, &data, 1, timeout_duration);

        // Set accelerometer range (+/- 2g = 0, 4g = 01, 8g = 10, 16g = 11)
        data = 0; /*!< 2g (default) */
        HAL_I2C_Mem_Write(hi2c, MPU6050_ADDR, ACCEL_CONFIG_REG, MemAddSize, &data, 1, timeout_duration);

        // Set gyroscope range (+/- 250, 500, 1000, 2000 degree/s)
        data = 0; /*!< 250 degree/s (default) */
        HAL_I2C_Mem_Write(hi2c, MPU6050_ADDR, GYRO_CONFIG_REG, MemAddSize, &data, 1, timeout_duration);

        // Set Digital Low Pass Filter
		data = 4; /*! Frecuencia de muestreo: 1kHz / 1+4 = 200hZ -> Retardo de 8.5 ms */
		HAL_I2C_Mem_Write(hi2c, MPU6050_ADDR, DLPF_CONFIG_REG, MemAddSize, &data, 1, timeout_duration);
    }
}

/* USER CODE END 4 */

void Error_Handler(void)
{
  __disable_irq();
  while (1)
  {
  }
}
